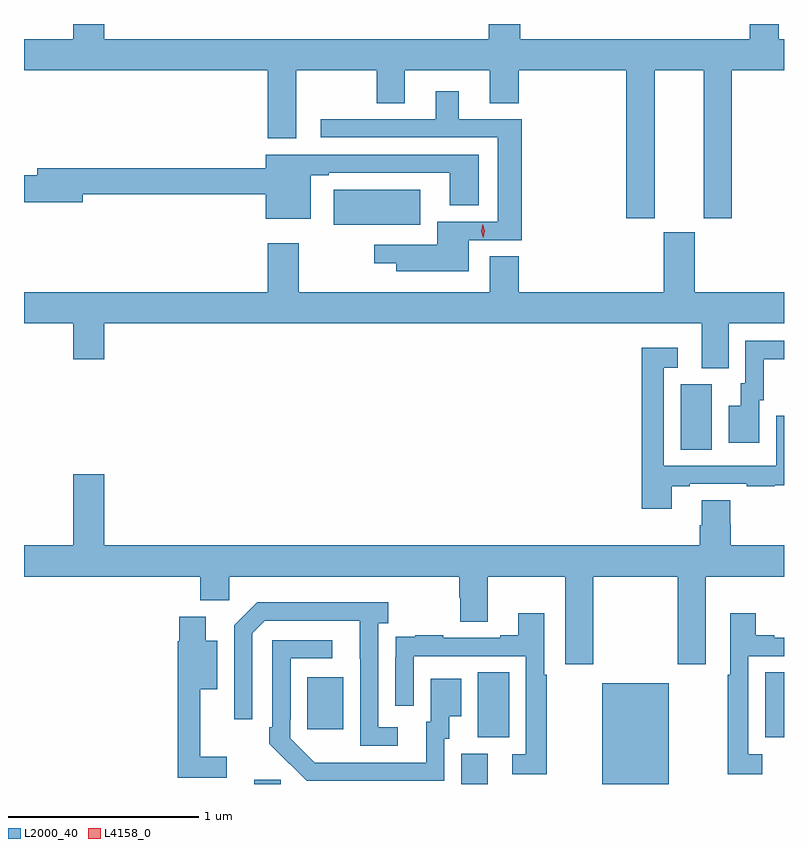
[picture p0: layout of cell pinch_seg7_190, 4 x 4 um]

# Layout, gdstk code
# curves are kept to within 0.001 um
import gdstk
lib = gdstk.Library(unit=1e-6, precision=1e-09)
def R(c, l, rs):  # rectangles x0, y0, x1, y1
    for r in rs: c.add(gdstk.rectangle(r[:2], r[2:], *l))
def P(c, l, *ps):  # polygons
    for p in ps: c.add(gdstk.Polygon(p, *l))
L2000_40 = (2000, 40)
L4158_0 = (4158, 0)

pinch_seg7_190 = lib.new_cell('pinch_seg7_190')
R(pinch_seg7_190, L2000_40, [(1077.05,1003.52,1077.189,1003.542), (1078.139,1003.52,1078.279,1003.68), (1078.88,1003.52,1079.23,1004.05), (1078.226,1003.765,1078.39,1004.108), (1079.738,1003.765,1079.837,1004.108), (1077.329,1003.809,1077.517,1004.083), (1079.294,1005.28,1079.458,1005.624)])
P(pinch_seg7_190, L2000_40, [(1078.448,1007.52),(1078.283,1007.52),(1078.283,1007.44),(1076.26,1007.44),(1076.26,1007.52),(1076.096,1007.52),(1076.096,1007.44),(1075.837,1007.44),(1075.837,1007.276),(1077.119,1007.276),(1077.119,1006.919),(1077.271,1006.919),(1077.271,1007.276),(1077.694,1007.276),(1077.694,1007.104),(1077.841,1007.104),(1077.841,1007.276),(1078.289,1007.276),(1078.289,1007.104),(1078.442,1007.104),(1078.442,1007.276),(1079.006,1007.276),(1079.006,1006.497),(1079.158,1006.497),(1079.158,1007.276),(1079.414,1007.276),(1079.414,1006.497),(1079.562,1006.497),(1079.562,1007.276),(1079.837,1007.276),(1079.837,1007.44),(1079.81,1007.44),(1079.81,1007.52),(1079.658,1007.52),(1079.658,1007.44),(1078.448,1007.44)],
  [(1078.177,1006.383),(1078.457,1006.383),(1078.457,1007.019),(1078.126,1007.019),(1078.126,1007.167),(1078.004,1007.167),(1078.004,1007.019),(1077.399,1007.019),(1077.399,1006.923),(1078.331,1006.923),(1078.331,1006.479),(1078.013,1006.479),(1078.013,1006.359),(1077.681,1006.359),(1077.681,1006.262),(1077.797,1006.262),(1077.797,1006.22),(1078.177,1006.22)],
  [(1077.346,1006.724),(1077.442,1006.724),(1077.442,1006.737),(1078.079,1006.737),(1078.079,1006.566),(1078.231,1006.566),(1078.231,1006.833),(1077.11,1006.833),(1077.11,1006.76),(1075.907,1006.76),(1075.907,1006.724),(1075.837,1006.724),(1075.837,1006.582),(1076.146,1006.582),(1076.146,1006.624),(1077.11,1006.624),(1077.11,1006.496),(1077.346,1006.496)],
  [(1077.922,1006.648),(1077.571,1006.648),(1077.571,1006.647),(1077.468,1006.647),(1077.468,1006.463),(1077.922,1006.463)],
  [(1079.545,1005.944),(1079.837,1005.944),(1079.837,1006.108),(1079.368,1006.108),(1079.368,1006.425),(1079.204,1006.425),(1079.204,1006.108),(1078.442,1006.108),(1078.442,1006.298),(1078.289,1006.298),(1078.289,1006.108),(1077.284,1006.108),(1077.284,1006.366),(1077.119,1006.366),(1077.119,1006.108),(1075.837,1006.108),(1075.837,1005.944),(1076.096,1005.944),(1076.096,1005.756),(1076.26,1005.756),(1076.26,1005.944),(1079.405,1005.944),(1079.405,1005.709),(1079.545,1005.709)],
  [(1079.707,1005.54),(1079.731,1005.54),(1079.731,1005.756),(1079.837,1005.756),(1079.837,1005.852),(1079.634,1005.852),(1079.634,1005.63),(1079.609,1005.63),(1079.609,1005.511),(1079.546,1005.511),(1079.546,1005.315),(1079.707,1005.315)],
  [(1079.245,1005.087),(1079.341,1005.087),(1079.341,1005.099),(1079.641,1005.099),(1079.641,1005.087),(1079.789,1005.087),(1079.789,1005.093),(1079.837,1005.093),(1079.837,1005.457),(1079.796,1005.457),(1079.796,1005.195),(1079.205,1005.195),(1079.205,1005.711),(1079.278,1005.711),(1079.278,1005.817),(1079.089,1005.817),(1079.089,1004.97),(1079.245,1004.97)],
  [(1078.833,1004.612),(1079.278,1004.612),(1079.278,1004.151),(1079.425,1004.151),(1079.425,1004.612),(1079.837,1004.612),(1079.837,1004.776),(1079.558,1004.776),(1079.558,1004.889),(1079.553,1004.889),(1079.553,1005.014),(1079.405,1005.014),(1079.405,1004.882),(1079.393,1004.882),(1079.393,1004.776),(1076.26,1004.776),(1076.26,1005.151),(1076.096,1005.151),(1076.096,1004.776),(1075.837,1004.776),(1075.837,1004.612),(1076.765,1004.612),(1076.765,1004.486),(1076.916,1004.486),(1076.916,1004.612),(1078.127,1004.612),(1078.127,1004.499),(1078.132,1004.499),(1078.132,1004.374),(1078.279,1004.374),(1078.279,1004.612),(1078.685,1004.612),(1078.685,1004.151),(1078.833,1004.151)],
  [(1077.805,1003.818),(1077.702,1003.818),(1077.702,1004.366),(1077.754,1004.366),(1077.754,1004.476),(1077.064,1004.476),(1076.943,1004.355),(1076.943,1003.86),(1077.039,1003.86),(1077.039,1004.313),(1077.105,1004.379),(1077.605,1004.379),(1077.606,1003.722),(1077.805,1003.722)],
  [(1078.588,1004.096),(1078.575,1004.096),(1078.575,1004.419),(1078.439,1004.419),(1078.439,1004.302),(1078.343,1004.302),(1078.343,1004.289),(1078.043,1004.289),(1078.043,1004.302),(1077.895,1004.302),(1077.895,1004.295),(1077.793,1004.295),(1077.793,1004.186),(1077.792,1004.186),(1077.792,1003.932),(1077.888,1003.932),(1077.888,1004.193),(1078.479,1004.193),(1078.479,1003.677),(1078.407,1003.677),(1078.407,1003.572),(1078.588,1003.572)],
  [(1079.722,1003.677),(1079.649,1003.677),(1079.649,1004.193),(1079.837,1004.193),(1079.837,1004.289),(1079.785,1004.289),(1079.785,1004.302),(1079.689,1004.302),(1079.689,1004.419),(1079.553,1004.419),(1079.553,1004.096),(1079.541,1004.096),(1079.541,1003.572),(1079.722,1003.572)],
  [(1076.905,1003.663),(1076.765,1003.663),(1076.765,1004.018),(1076.854,1004.018),(1076.854,1004.275),(1076.794,1004.275),(1076.794,1004.401),(1076.654,1004.401),(1076.654,1004.271),(1076.647,1004.271),(1076.647,1003.554),(1076.905,1003.554)],
  [(1078.05,1003.758),(1078.075,1003.758),(1078.075,1003.877),(1078.138,1003.877),(1078.138,1004.074),(1077.977,1004.074),(1077.977,1003.848),(1077.953,1003.848),(1077.953,1003.632),(1077.366,1003.633),(1077.237,1003.761),(1077.237,1003.861),(1077.24,1003.861),(1077.24,1004.181),(1077.46,1004.181),(1077.46,1004.277),(1077.144,1004.277),(1077.144,1003.819),(1077.129,1003.819),(1077.129,1003.731),(1077.326,1003.536),(1078.05,1003.536)])
P(pinch_seg7_190, L4158_0, [(1078.254,1006.394),(1078.254,1006.394),(1078.243,1006.43),(1078.252,1006.466),(1078.252,1006.466),(1078.252,1006.466),(1078.263,1006.431),(1078.254,1006.394)])

lib.write_gds('pinch_seg7_190.gds')
